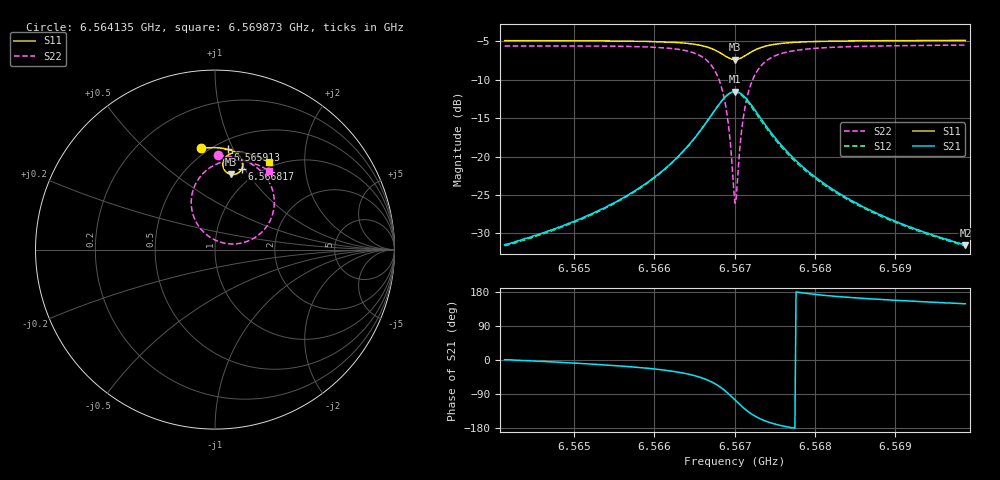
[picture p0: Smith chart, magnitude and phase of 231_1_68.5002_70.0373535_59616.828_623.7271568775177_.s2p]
#  HZ  S  RI  R  50.00
! Rohde & Schwarz Vector Network Analyzer
! Rohde-Schwarz,ZNB20-2Port,1311601062101988,3.16
! Created: UTC 3/20/2024, 4:58:56 PM
! freq[Hz]  re:S11  im:S11  re:S21  im:S21  re:S12  im:S12  re:S22  im:S22
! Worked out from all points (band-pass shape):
!   401 points, 6.564135 GHz to 6.569873 GHz, reference 50 ohm
!   highest |S21| = -11.53 dB at 6.567004 GHz (marker M1); lowest = -31.6 dB at 6.569873 GHz (marker M2)
!   |S21| within 3 dB of the highest: 6.566716 GHz to 6.56729 GHz (574.7 kHz wide, 0.00875 % of centre)
!   lowest |S11| = -7.4 dB at 6.567004 GHz (marker M3), VSWR 2.50, Z = 40.5 + j41.6 ohm
!   |S11| at or under -10 dB: nowhere
!   |S22| runs from -26.1 to -5.5 dB; largest |S21 - S12| = 0.012
!   S11 on the Smith chart (normalised r, x): 6.564135 GHz: 0.46, +0.76; 6.565913 GHz: 0.58, +0.95; 6.566817 GHz: 0.84, +0.97; 6.569873 GHz: 0.93, +1.34
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6.5641347e9  -0.0797 0.5636  0.0265 0.000316  0.0261 -0.000102  0.0193 0.5249
6.5650958e9  -0.00178 0.568  0.039 -0.00641  0.0385 -0.00691  0.1078 0.5142
6.5659134e9  0.0722 0.5583  0.0629 -0.0251  0.062 -0.0259  0.2072 0.4748
6.5660569e9  0.0869 0.5537  0.0701 -0.0326  0.069 -0.0335  0.23 0.4595
6.5663581e9  0.1203 0.5367  0.0892 -0.0613  0.0877 -0.0625  0.2856 0.4029
6.5665876e9  0.1464 0.5084  0.1033 -0.1104  0.1009 -0.1124  0.3264 0.3082
6.5667167e9  0.155 0.48  0.0988 -0.1601  0.0949 -0.163  0.325 0.2133
6.5668172e9  0.1496 0.4505  0.0723 -0.2106  0.0657 -0.2137  0.2792 0.1179
6.5669032e9  0.1289 0.4266  0.02 -0.2499  0.0102 -0.2504  0.184 0.0476
6.5669319e9  0.1182 0.4214  -0.00413 -0.2574  -0.0146 -0.2566  0.1406 0.035
6.5669893e9  0.0939 0.4181  -0.0572 -0.2585  -0.0682 -0.2542  0.0462 0.0373
6.5670036e9  0.0876 0.4192  -0.0707 -0.2556  -0.0812 -0.2502  0.023 0.044
6.5670323e9  0.0755 0.4233  -0.0961 -0.2458  -0.1058 -0.2384  -0.0204 0.0642
6.5670897e9  0.0564 0.4384  -0.1373 -0.2138  -0.1441 -0.2039  -0.0876 0.1256
6.5671327e9  0.0479 0.4533  -0.1573 -0.1839  -0.1615 -0.1734  -0.1173 0.1805
6.5671901e9  0.0441 0.4735  -0.1698 -0.1437  -0.1712 -0.1337  -0.1322 0.2518
6.5672618e9  0.048 0.4953  -0.1697 -0.1009  -0.1686 -0.0925  -0.1236 0.3259
6.56752e9  0.0871 0.5344  -0.1271 -0.0221  -0.1244 -0.0184  -0.0273 0.4569
6.5679647e9  0.1456 0.5425  -0.0757 0.00794  -0.0738 0.00917  0.0934 0.4972
6.5684094e9  0.1892 0.5346  -0.0514 0.0133  -0.0503 0.0139  0.1644 0.4929
6.5689258e9  0.2323 0.5199  -0.0365 0.0144  -0.0357 0.0146  0.2229 0.4774
6.5698726e9  0.3012 0.4853  -0.0224 0.0139  -0.022 0.0139  0.3025 0.4389
